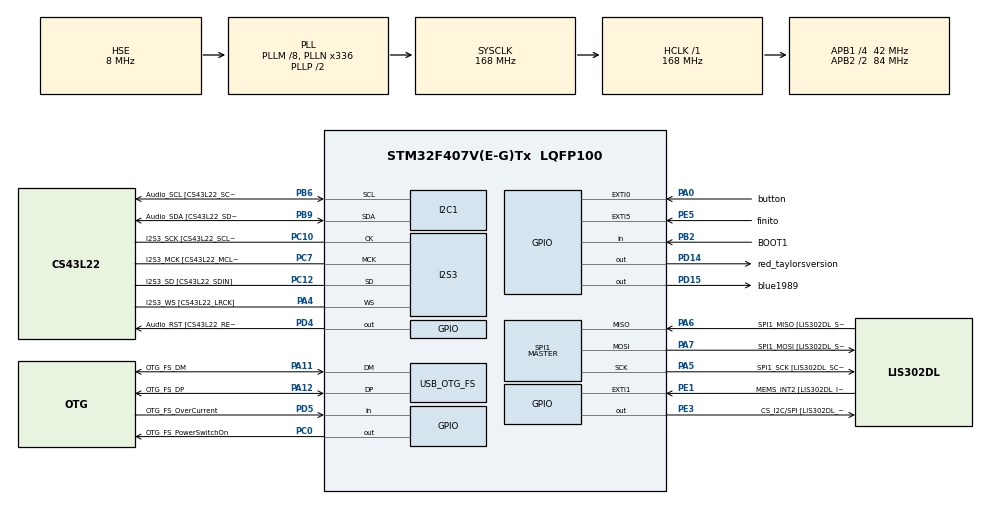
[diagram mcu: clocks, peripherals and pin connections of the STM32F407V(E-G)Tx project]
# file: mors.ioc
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I2S3.AudioFreq-Half_Duplex_Master=I2S_AUDIOFREQ_96K
I2S3.ErrorAudioFreq=-2.34 %
I2S3.ErrorAudioFreq-Half_Duplex_Master=0.8 %
I2S3.FullDuplexMode=I2S_FULLDUPLEXMODE_DISABLE
I2S3.Instance=SPI$Index
I2S3.RealAudioFreq=93.75 KHz
I2S3.RealAudioFreq-Half_Duplex_Master=96.774 KHz
I2S3.VirtualMode=I2S_MODE_MASTER
Mcu.Family=STM32F4
Mcu.Name=STM32F407V(E-G)Tx
Mcu.Package=LQFP100
NVIC.EXTI0_IRQn=true\:0\:0\:false\:false\:true\:true\:true\:true
NVIC.EXTI9_5_IRQn=true\:0\:0\:true\:false\:true\:true\:true\:true
NVIC.OTG_FS_IRQn=true\:0\:0\:false\:false\:true\:true\:true\:true
NVIC.PriorityGroup=NVIC_PRIORITYGROUP_0
PA0-WKUP.GPIO_Label=button
PA0-WKUP.GPIO_ModeDefaultEXTI=GPIO_MODE_IT_RISING_FALLING
PA0-WKUP.Signal=GPXTI0
PA10.GPIO_Label=OTG_FS_ID
PA10.GPIO_Mode=GPIO_MODE_AF_PP
PA10.GPIO_PuPd=GPIO_NOPULL
PA10.GPIO_Speed=GPIO_SPEED_FREQ_LOW
PA10.Signal=USB_OTG_FS_ID
PA11.GPIO_Label=OTG_FS_DM
PA11.GPIO_Mode=GPIO_MODE_AF_PP
PA11.GPIO_PuPd=GPIO_NOPULL
PA11.GPIO_Speed=GPIO_SPEED_FREQ_LOW
PA11.Mode=Device_Only
PA11.Signal=USB_OTG_FS_DM
PA12.GPIO_Label=OTG_FS_DP
PA12.GPIO_Mode=GPIO_MODE_AF_PP
PA12.GPIO_PuPd=GPIO_NOPULL
PA12.GPIO_Speed=GPIO_SPEED_FREQ_LOW
PA12.Mode=Device_Only
PA12.Signal=USB_OTG_FS_DP
PA13.GPIO_Label=SWDIO
PA13.Mode=Serial_Wire
PA13.Signal=SYS_JTMS-SWDIO
PA14.GPIO_Label=SWCLK
PA14.Mode=Serial_Wire
PA14.Signal=SYS_JTCK-SWCLK
PA4.GPIO_Label=I2S3_WS [CS43L22_LRCK]
PA4.GPIO_Mode=GPIO_MODE_AF_PP
PA4.GPIO_PuPd=GPIO_NOPULL
PA4.GPIO_Speed=GPIO_SPEED_FREQ_LOW
PA4.Mode=Half_Duplex_Master
PA4.Signal=I2S3_WS
PA5.GPIO_Label=SPI1_SCK [LIS302DL_SCL/SPC]
PA5.GPIO_Mode=GPIO_MODE_AF_PP
PA5.GPIO_PuPd=GPIO_NOPULL
PA5.GPIO_Speed=GPIO_SPEED_FREQ_LOW
PA5.Mode=Full_Duplex_Master
PA5.Signal=SPI1_SCK
PA6.GPIO_Label=SPI1_MISO [LIS302DL_SDO]
PA6.GPIO_Mode=GPIO_MODE_AF_PP
PA6.GPIO_PuPd=GPIO_NOPULL
PA6.GPIO_Speed=GPIO_SPEED_FREQ_LOW
PA6.Mode=Full_Duplex_Master
PA6.Signal=SPI1_MISO
PA7.GPIO_Label=SPI1_MOSI [LIS302DL_SDA/SDI/SDO]
PA7.GPIO_Mode=GPIO_MODE_AF_PP
PA7.GPIO_PuPd=GPIO_NOPULL
PA7.GPIO_Speed=GPIO_SPEED_FREQ_LOW
PA7.Mode=Full_Duplex_Master
PA7.Signal=SPI1_MOSI
PA9.GPIO_Label=VBUS_FS
PA9.GPIO_Mode=GPIO_MODE_INPUT
PA9.GPIO_PuPd=GPIO_NOPULL
PA9.Signal=USB_OTG_FS_VBUS
PB10.GPIO_Label=CLK_IN [MP45DT02_CLK]
PB10.GPIO_Mode=GPIO_MODE_AF_PP
PB10.GPIO_PuPd=GPIO_NOPULL
PB10.GPIO_Speed=GPIO_SPEED_FREQ_LOW
PB10.Signal=I2S2_CK
PB2.GPIO_Label=BOOT1
PB2.GPIO_Mode=GPIO_MODE_INPUT
PB2.GPIO_PuPd=GPIO_NOPULL
PB2.Signal=GPIO_Input
PB3.GPIO_Label=SWO
PB3.Signal=SYS_JTDO-SWO
PB6.GPIO_Label=Audio_SCL [CS43L22_SCL]
PB6.GPIO_Mode=GPIO_MODE_AF_OD
PB6.GPIO_Pu=GPIO_PULLUP
PB6.GPIO_PuPd=GPIO_NOPULL
PB6.GPIO_Speed=GPIO_SPEED_FREQ_LOW
PB6.Mode=I2C
PB6.Signal=I2C1_SCL
PB9.GPIO_Label=Audio_SDA [CS43L22_SDA]
PB9.GPIO_Mode=GPIO_MODE_AF_OD
PB9.GPIO_Pu=GPIO_PULLUP
PB9.GPIO_PuPd=GPIO_NOPULL
PB9.GPIO_Speed=GPIO_SPEED_FREQ_LOW
PB9.Mode=I2C
PB9.Signal=I2C1_SDA
PC0.GPIO_Label=OTG_FS_PowerSwitchOn
PC0.GPIO_PuPd=GPIO_NOPULL
PC0.GPIO_Speed=GPIO_SPEED_FREQ_LOW
PC0.PinState=GPIO_PIN_SET
PC0.Signal=GPIO_Output
PC10.GPIO_Label=I2S3_SCK [CS43L22_SCLK]
PC10.GPIO_Mode=GPIO_MODE_AF_PP
PC10.GPIO_PuPd=GPIO_NOPULL
PC10.GPIO_Speed=GPIO_SPEED_FREQ_LOW
PC10.Mode=Half_Duplex_Master
PC10.Signal=I2S3_CK
PC12.GPIO_Label=I2S3_SD [CS43L22_SDIN]
PC12.GPIO_Mode=GPIO_MODE_AF_PP
PC12.GPIO_PuPd=GPIO_NOPULL
PC12.GPIO_Speed=GPIO_SPEED_FREQ_LOW
PC12.Mode=Half_Duplex_Master
PC12.Signal=I2S3_SD
PC14-OSC32_IN.GPIO_Label=PC14-OSC32_IN
PC14-OSC32_IN.Mode=LSE-External-Oscillator
PC14-OSC32_IN.Signal=RCC_OSC32_IN
PC15-OSC32_OUT.GPIO_Label=PC15-OSC32_OUT
PC15-OSC32_OUT.Mode=LSE-External-Oscillator
PC15-OSC32_OUT.Signal=RCC_OSC32_OUT
PC3.GPIO_Label=PDM_OUT [MP45DT02_DOUT]
PC3.GPIO_Mode=GPIO_MODE_AF_PP
PC3.GPIO_PuPd=GPIO_NOPULL
PC3.GPIO_Speed=GPIO_SPEED_FREQ_LOW
PC3.Signal=I2S2_SD
PC7.GPIO_Label=I2S3_MCK [CS43L22_MCLK]
PC7.GPIO_Mode=GPIO_MODE_AF_PP
PC7.GPIO_PuPd=GPIO_NOPULL
PC7.GPIO_Speed=GPIO_SPEED_FREQ_LOW
PC7.Mode=Master_Clock_Activated
PC7.Signal=I2S3_MCK
PD14.GPIO_Label=red_taylorsversion
PD14.GPIO_PuPd=GPIO_NOPULL
PD14.GPIO_Speed=GPIO_SPEED_FREQ_LOW
PD14.Signal=GPIO_Output
PD15.GPIO_Label=blue1989
PD15.GPIO_PuPd=GPIO_NOPULL
PD15.GPIO_Speed=GPIO_SPEED_FREQ_LOW
PD15.Signal=GPIO_Output
PD4.GPIO_Label=Audio_RST [CS43L22_RESET]
PD4.GPIO_PuPd=GPIO_NOPULL
PD4.GPIO_Speed=GPIO_SPEED_FREQ_LOW
PD4.Signal=GPIO_Output
PD5.GPIO_Label=OTG_FS_OverCurrent
PD5.GPIO_Mode=GPIO_MODE_INPUT
PD5.GPIO_PuPd=GPIO_NOPULL
PD5.Signal=GPIO_Input
PE1.GPIO_Label=MEMS_INT2 [LIS302DL_INT2]
PE1.GPIO_ModeDefaultEXTI=GPIO_MODE_EVT_RISING
PE1.GPIO_PuPd=GPIO_NOPULL
PE1.Signal=GPXTI1
PE3.GPIO_Label=CS_I2C/SPI [LIS302DL_CS_I2C/SPI]
PE3.GPIO_PuPd=GPIO_NOPULL
PE3.GPIO_Speed=GPIO_SPEED_FREQ_LOW
PE3.Signal=GPIO_Output
PE5.GPIO_Label=finito
PE5.GPIO_ModeDefaultEXTI=GPIO_MODE_IT_RISING
PE5.Signal=GPXTI5
PH0-OSC_IN.GPIO_Label=PH0-OSC_IN
PH0-OSC_IN.Mode=HSE-External-Oscillator
PH0-OSC_IN.Signal=RCC_OSC_IN
PH1-OSC_OUT.GPIO_Label=PH1-OSC_OUT
PH1-OSC_OUT.Mode=HSE-External-Oscillator
PH1-OSC_OUT.Signal=RCC_OSC_OUT
ProjectManager.HeapSize=0x200
ProjectManager.StackSize=0x400
ProjectManager.TargetToolchain=STM32CubeIDE
RCC.48MHZClocksFreq_Value=48000000
RCC.AHBFreq_Value=168000000
RCC.APB1CLKDivider=RCC_HCLK_DIV4
RCC.APB1Freq_Value=42000000
RCC.APB1TimFreq_Value=84000000
RCC.APB2CLKDivider=RCC_HCLK_DIV2
RCC.APB2Freq_Value=84000000
RCC.APB2TimFreq_Value=168000000
RCC.CortexFreq_Value=168000000
RCC.HCLKFreq_Value=168000000
RCC.HSE_VALUE=8000000
RCC.HSI_VALUE=16000000
RCC.PLLM=8
RCC.PLLN=336
RCC.PLLQ=7
RCC.SYSCLKFreq_VALUE=168000000
RCC.SYSCLKSource=RCC_SYSCLKSOURCE_PLLCLK
RCC.VCOOutputFreq_Value=336000000
SPI1.BaudRatePrescaler-Full_Duplex_Master=SPI_BAUDRATEPRESCALER_2
SPI1.CalculateBaudRate-Full_Duplex_Master=42.0 MBits/s
SPI1.Direction=SPI_DIRECTION_2LINES
SPI1.Mode=SPI_MODE_MASTER
SPI1.Mode-Full_Duplex_Master=SPI_MODE_MASTER
SPI1.VirtualType=VM_MASTER
TIM6.Prescaler=65535
USB_DEVICE.CLASS_NAME_FS=CDC
USB_DEVICE.VirtualMode-CDC_FS=Cdc
USB_DEVICE.VirtualModeFS=Cdc_FS
USB_OTG_FS.VirtualMode=Device_Only
VP_TIM6_VS_ClockSourceINT.Mode=Enable_Timer
VP_USB_DEVICE_VS_USB_DEVICE_CDC_FS.Mode=CDC_FS
board=STM32F407G-DISC1

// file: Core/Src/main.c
/* USER CODE BEGIN Header */
/**
  ******************************************************************************
  * @file           : main.c
  * @brief          : Main program body
  ******************************************************************************
  * @attention
  *
  * Copyright (c) 2022 STMicroelectronics.
  * All rights reserved.
  *
  * This software is licensed under terms that can be found in the LICENSE file
  * in the root directory of this software component.
  * If no LICENSE file comes with this software, it is provided AS-IS.
  *
  ******************************************************************************
  */
/* USER CODE END Header */
#include "main.h"
#include "usb_device.h"

/* USER CODE BEGIN PD */
#define shortt 2
#define longg 7
/* USER CODE END PD */

I2C_HandleTypeDef hi2c1;

I2S_HandleTypeDef hi2s3;

SPI_HandleTypeDef hspi1;

TIM_HandleTypeDef htim6;

/* USER CODE BEGIN PV */
uint32_t count;
int name[4]={0,0,0,0};
int press;
int apple[9][4]={{7,2,7,2},{2,7,0,0},{7,7,2,0},{2,7,2,2},{7,7,0,0},{2,0,0,0},{7,0,0,0},{2,2,0,0},{7,2,0,0}};
char *gsahinpi[9]={"C","A","G","L","M","E","T","I","N"};
int i, j;
int finito;
/* USER CODE END PV */

void SystemClock_Config(void);
static void MX_GPIO_Init(void);
static void MX_I2C1_Init(void);
static void MX_I2S3_Init(void);
static void MX_SPI1_Init(void);
static void MX_TIM6_Init(void);

int main(void)
{

  /* MCU Configuration--------------------------------------------------------*/

  /* Reset of all peripherals, Initializes the Flash interface and the Systick. */
  HAL_Init();

  /* USER CODE BEGIN Init */
  press=0;
  /* USER CODE END Init */

  /* Configure the system clock */
  SystemClock_Config();

  /* Initialize all configured peripherals */
  MX_GPIO_Init();
  MX_I2C1_Init();
  MX_I2S3_Init();
  MX_SPI1_Init();
  MX_USB_DEVICE_Init();
  MX_TIM6_Init();
  /* USER CODE BEGIN 2 */
HAL_TIM_Base_Start(&htim6);
  /* USER CODE END 2 */

  /* Infinite loop */
  while (1)
  {

  }
}

void SystemClock_Config(void)
{
  RCC_OscInitTypeDef RCC_OscInitStruct = {0};
  RCC_ClkInitTypeDef RCC_ClkInitStruct = {0};

  /** Configure the main internal regulator output voltage
  */
  __HAL_RCC_PWR_CLK_ENABLE();
  __HAL_PWR_VOLTAGESCALING_CONFIG(PWR_REGULATOR_VOLTAGE_SCALE1);

  /** Initializes the RCC Oscillators according to the specified parameters
  * in the RCC_OscInitTypeDef structure.
  */
  RCC_OscInitStruct.OscillatorType = RCC_OSCILLATORTYPE_HSE;
  RCC_OscInitStruct.HSEState = RCC_HSE_ON;
  RCC_OscInitStruct.PLL.PLLState = RCC_PLL_ON;
  RCC_OscInitStruct.PLL.PLLSource = RCC_PLLSOURCE_HSE;
  RCC_OscInitStruct.PLL.PLLM = 8;
  RCC_OscInitStruct.PLL.PLLN = 336;
  RCC_OscInitStruct.PLL.PLLP = RCC_PLLP_DIV2;
  RCC_OscInitStruct.PLL.PLLQ = 7;
  if (HAL_RCC_OscConfig(&RCC_OscInitStruct) != HAL_OK)
  {
    Error_Handler();
  }

  /** Initializes the CPU, AHB and APB buses clocks
  */
  RCC_ClkInitStruct.ClockType = RCC_CLOCKTYPE_HCLK|RCC_CLOCKTYPE_SYSCLK
                              |RCC_CLOCKTYPE_PCLK1|RCC_CLOCKTYPE_PCLK2;
  RCC_ClkInitStruct.SYSCLKSource = RCC_SYSCLKSOURCE_PLLCLK;
  RCC_ClkInitStruct.AHBCLKDivider = RCC_SYSCLK_DIV1;
  RCC_ClkInitStruct.APB1CLKDivider = RCC_HCLK_DIV4;
  RCC_ClkInitStruct.APB2CLKDivider = RCC_HCLK_DIV2;

  if (HAL_RCC_ClockConfig(&RCC_ClkInitStruct, FLASH_LATENCY_5) != HAL_OK)
  {
    Error_Handler();
  }
}

static void MX_I2C1_Init(void)
{

  hi2c1.Instance = I2C1;
  hi2c1.Init.ClockSpeed = 100000;
  hi2c1.Init.DutyCycle = I2C_DUTYCYCLE_2;
  hi2c1.Init.OwnAddress1 = 0;
  hi2c1.Init.AddressingMode = I2C_ADDRESSINGMODE_7BIT;
  hi2c1.Init.DualAddressMode = I2C_DUALADDRESS_DISABLE;
  hi2c1.Init.OwnAddress2 = 0;
  hi2c1.Init.GeneralCallMode = I2C_GENERALCALL_DISABLE;
  hi2c1.Init.NoStretchMode = I2C_NOSTRETCH_DISABLE;
  if (HAL_I2C_Init(&hi2c1) != HAL_OK)
  {
    Error_Handler();
  }

}

static void MX_I2S3_Init(void)
{

  hi2s3.Instance = SPI3;
  hi2s3.Init.Mode = I2S_MODE_MASTER_TX;
  hi2s3.Init.Standard = I2S_STANDARD_PHILIPS;
  hi2s3.Init.DataFormat = I2S_DATAFORMAT_16B;
  hi2s3.Init.MCLKOutput = I2S_MCLKOUTPUT_ENABLE;
  hi2s3.Init.AudioFreq = I2S_AUDIOFREQ_96K;
  hi2s3.Init.CPOL = I2S_CPOL_LOW;
  hi2s3.Init.ClockSource = I2S_CLOCK_PLL;
  hi2s3.Init.FullDuplexMode = I2S_FULLDUPLEXMODE_DISABLE;
  if (HAL_I2S_Init(&hi2s3) != HAL_OK)
  {
    Error_Handler();
  }

}

static void MX_SPI1_Init(void)
{

  /* SPI1 parameter configuration*/
  hspi1.Instance = SPI1;
  hspi1.Init.Mode = SPI_MODE_MASTER;
  hspi1.Init.Direction = SPI_DIRECTION_2LINES;
  hspi1.Init.DataSize = SPI_DATASIZE_8BIT;
  hspi1.Init.CLKPolarity = SPI_POLARITY_LOW;
  hspi1.Init.CLKPhase = SPI_PHASE_1EDGE;
  hspi1.Init.NSS = SPI_NSS_SOFT;
  hspi1.Init.BaudRatePrescaler = SPI_BAUDRATEPRESCALER_2;
  hspi1.Init.FirstBit = SPI_FIRSTBIT_MSB;
  hspi1.Init.TIMode = SPI_TIMODE_DISABLE;
  hspi1.Init.CRCCalculation = SPI_CRCCALCULATION_DISABLE;
  hspi1.Init.CRCPolynomial = 10;
  if (HAL_SPI_Init(&hspi1) != HAL_OK)
  {
    Error_Handler();
  }

}

static void MX_TIM6_Init(void)
{

  TIM_MasterConfigTypeDef sMasterConfig = {0};

  htim6.Instance = TIM6;
  htim6.Init.Prescaler = 65535;
  htim6.Init.CounterMode = TIM_COUNTERMODE_UP;
  htim6.Init.Period = 65535;
  htim6.Init.AutoReloadPreload = TIM_AUTORELOAD_PRELOAD_DISABLE;
  if (HAL_TIM_Base_Init(&htim6) != HAL_OK)
  {
    Error_Handler();
  }
  sMasterConfig.MasterOutputTrigger = TIM_TRGO_RESET;
  sMasterConfig.MasterSlaveMode = TIM_MASTERSLAVEMODE_DISABLE;
  if (HAL_TIMEx_MasterConfigSynchronization(&htim6, &sMasterConfig) != HAL_OK)
  {
    Error_Handler();
  }

}

static void MX_GPIO_Init(void)
{
  GPIO_InitTypeDef GPIO_InitStruct = {0};

  /* GPIO Ports Clock Enable */
  __HAL_RCC_GPIOE_CLK_ENABLE();
  __HAL_RCC_GPIOC_CLK_ENABLE();
  __HAL_RCC_GPIOH_CLK_ENABLE();
  __HAL_RCC_GPIOA_CLK_ENABLE();
  __HAL_RCC_GPIOB_CLK_ENABLE();
  __HAL_RCC_GPIOD_CLK_ENABLE();

  /*Configure GPIO pin Output Level */
  HAL_GPIO_WritePin(CS_I2C_SPI_GPIO_Port, CS_I2C_SPI_Pin, GPIO_PIN_RESET);

  /*Configure GPIO pin Output Level */
  HAL_GPIO_WritePin(OTG_FS_PowerSwitchOn_GPIO_Port, OTG_FS_PowerSwitchOn_Pin, GPIO_PIN_SET);

  /*Configure GPIO pin Output Level */
  HAL_GPIO_WritePin(GPIOD, red_taylorsversion_Pin|blue1989_Pin|Audio_RST_Pin, GPIO_PIN_RESET);

  /*Configure GPIO pin : CS_I2C_SPI_Pin */
  GPIO_InitStruct.Pin = CS_I2C_SPI_Pin;
  GPIO_InitStruct.Mode = GPIO_MODE_OUTPUT_PP;
  GPIO_InitStruct.Pull = GPIO_NOPULL;
  GPIO_InitStruct.Speed = GPIO_SPEED_FREQ_LOW;
  HAL_GPIO_Init(CS_I2C_SPI_GPIO_Port, &GPIO_InitStruct);

  /*Configure GPIO pin : finito_Pin */
  GPIO_InitStruct.Pin = finito_Pin;
  GPIO_InitStruct.Mode = GPIO_MODE_IT_RISING;
  GPIO_InitStruct.Pull = GPIO_NOPULL;
  HAL_GPIO_Init(finito_GPIO_Port, &GPIO_InitStruct);

  /*Configure GPIO pin : OTG_FS_PowerSwitchOn_Pin */
  GPIO_InitStruct.Pin = OTG_FS_PowerSwitchOn_Pin;
  GPIO_InitStruct.Mode = GPIO_MODE_OUTPUT_PP;
  GPIO_InitStruct.Pull = GPIO_NOPULL;
  GPIO_InitStruct.Speed = GPIO_SPEED_FREQ_LOW;
  HAL_GPIO_Init(OTG_FS_PowerSwitchOn_GPIO_Port, &GPIO_InitStruct);

  /*Configure GPIO pin : PDM_OUT_Pin */
  GPIO_InitStruct.Pin = PDM_OUT_Pin;
  GPIO_InitStruct.Mode = GPIO_MODE_AF_PP;
  GPIO_InitStruct.Pull = GPIO_NOPULL;
  GPIO_InitStruct.Speed = GPIO_SPEED_FREQ_LOW;
  GPIO_InitStruct.Alternate = GPIO_AF5_SPI2;
  HAL_GPIO_Init(PDM_OUT_GPIO_Port, &GPIO_InitStruct);

  /*Configure GPIO pin : button_Pin */
  GPIO_InitStruct.Pin = button_Pin;
  GPIO_InitStruct.Mode = GPIO_MODE_IT_RISING_FALLING;
  GPIO_InitStruct.Pull = GPIO_NOPULL;
  HAL_GPIO_Init(button_GPIO_Port, &GPIO_InitStruct);

  /*Configure GPIO pin : BOOT1_Pin */
  GPIO_InitStruct.Pin = BOOT1_Pin;
  GPIO_InitStruct.Mode = GPIO_MODE_INPUT;
  GPIO_InitStruct.Pull = GPIO_NOPULL;
  HAL_GPIO_Init(BOOT1_GPIO_Port, &GPIO_InitStruct);

  /*Configure GPIO pin : CLK_IN_Pin */
  GPIO_InitStruct.Pin = CLK_IN_Pin;
  GPIO_InitStruct.Mode = GPIO_MODE_AF_PP;
  GPIO_InitStruct.Pull = GPIO_NOPULL;
  GPIO_InitStruct.Speed = GPIO_SPEED_FREQ_LOW;
  GPIO_InitStruct.Alternate = GPIO_AF5_SPI2;
  HAL_GPIO_Init(CLK_IN_GPIO_Port, &GPIO_InitStruct);

  /*Configure GPIO pins : red_taylorsversion_Pin blue1989_Pin Audio_RST_Pin */
  GPIO_InitStruct.Pin = red_taylorsversion_Pin|blue1989_Pin|Audio_RST_Pin;
  GPIO_InitStruct.Mode = GPIO_MODE_OUTPUT_PP;
  GPIO_InitStruct.Pull = GPIO_NOPULL;
  GPIO_InitStruct.Speed = GPIO_SPEED_FREQ_LOW;
  HAL_GPIO_Init(GPIOD, &GPIO_InitStruct);

  /*Configure GPIO pin : OTG_FS_OverCurrent_Pin */
  GPIO_InitStruct.Pin = OTG_FS_OverCurrent_Pin;
  GPIO_InitStruct.Mode = GPIO_MODE_INPUT;
  GPIO_InitStruct.Pull = GPIO_NOPULL;
  HAL_GPIO_Init(OTG_FS_OverCurrent_GPIO_Port, &GPIO_InitStruct);

  /*Configure GPIO pin : MEMS_INT2_Pin */
  GPIO_InitStruct.Pin = MEMS_INT2_Pin;
  GPIO_InitStruct.Mode = GPIO_MODE_EVT_RISING;
  GPIO_InitStruct.Pull = GPIO_NOPULL;
  HAL_GPIO_Init(MEMS_INT2_GPIO_Port, &GPIO_InitStruct);

  /* EXTI interrupt init*/
  HAL_NVIC_SetPriority(EXTI0_IRQn, 0, 0);
  HAL_NVIC_EnableIRQ(EXTI0_IRQn);

  HAL_NVIC_SetPriority(EXTI9_5_IRQn, 0, 0);
  HAL_NVIC_EnableIRQ(EXTI9_5_IRQn);

}

/* USER CODE BEGIN 4 */
void emirhan(){
	i=0;
	j=0;
	while(i<9){
		if(apple[i][j]==name[j]){
			j++;
		}
		else{
			i++;
			j=0;
		}
		if(j==4){
			break;
		}
	}
	if(press==4 || finito){
		press=0;
		CDC_Transmit_FS((uint8_t*)gsahinpi[i], (uint16_t)strlen(gsahinpi[i]));
		for(int u=0;u<4;u++)
			name[u]=0;
		}
}
void kontrol(uint32_t button){
	if(button<300 && button>50){
		HAL_GPIO_WritePin(GPIOD,red_taylorsversion_Pin,0);
		HAL_GPIO_WritePin(GPIOD,blue1989_Pin,1);
		name[press]=shortt;
		press++;
	}
	else if(button>299){
		HAL_GPIO_WritePin(GPIOD,blue1989_Pin,0);
		HAL_GPIO_WritePin(GPIOD,red_taylorsversion_Pin,1);
		name[press]=longg;
		press++;
	}
	if(press==4 || finito)
		emirhan();
}
void HAL_GPIO_EXTI_Callback(uint16_t GPIO_Pin)
{
	if(GPIO_Pin==button_Pin){
		finito=0;
		if (HAL_GPIO_ReadPin(GPIOA,button_Pin)){
			TIM6->CNT=0;
			HAL_GPIO_WritePin(GPIOD,blue1989_Pin,0);
			HAL_GPIO_WritePin(GPIOD,red_taylorsversion_Pin,0);
		}
		else
		{
			count=TIM6->CNT;
			kontrol(count);

		}
	}
	if(GPIO_Pin==finito_Pin){

		if(HAL_GPIO_ReadPin(GPIOE, finito_Pin))
		{    	finito=1;
		    emirhan();
	}
	}

 }
  void HAL_TIM_PeriodElapsedCallback(TIM_HandleTypeDef *htim)
  {
  	if(htim==&htim6){
  	}

  }

/* USER CODE END 4 */

void Error_Handler(void)
{
  __disable_irq();
  while (1)
  {
  }
}
